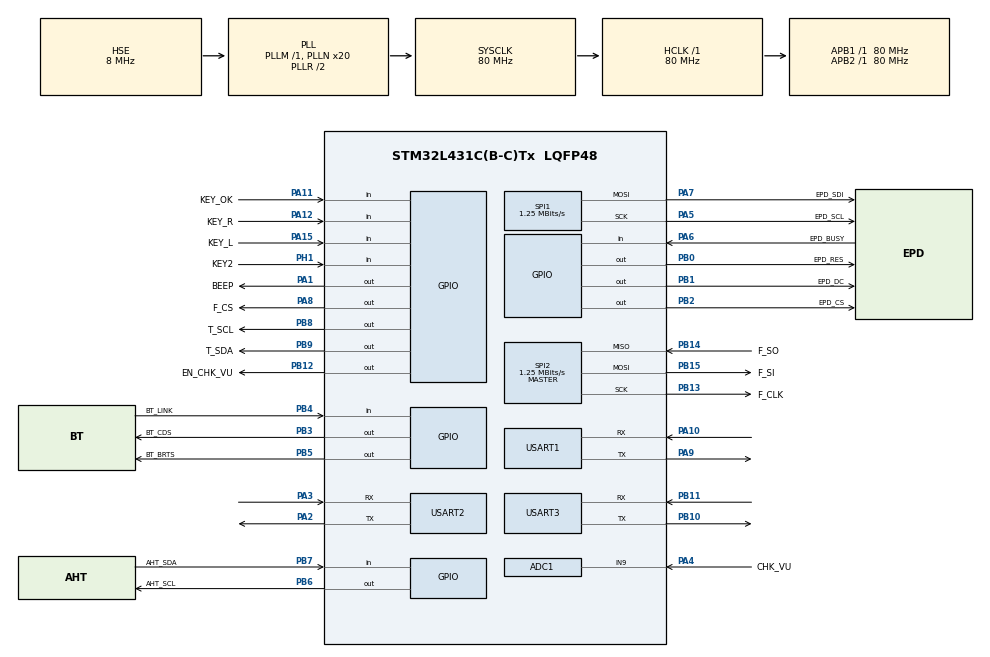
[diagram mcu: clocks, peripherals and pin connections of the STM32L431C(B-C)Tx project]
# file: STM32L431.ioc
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ADC1.Channel-1\#ChannelRegularConversion=ADC_CHANNEL_9
ADC1.NbrOfConversionFlag=1
ADC1.OffsetNumber-1\#ChannelRegularConversion=ADC_OFFSET_NONE
ADC1.Rank-1\#ChannelRegularConversion=1
ADC1.SamplingTime-1\#ChannelRegularConversion=ADC_SAMPLETIME_12CYCLES_5
ADC1.master=1
Mcu.Family=STM32L4
Mcu.Name=STM32L431C(B-C)Tx
Mcu.Package=LQFP48
NVIC.PriorityGroup=NVIC_PRIORITYGROUP_4
NVIC.USART1_IRQn=true\:3\:0\:true\:false\:true\:true\:true\:true
NVIC.USART2_IRQn=true\:4\:0\:true\:false\:true\:true\:true\:true
NVIC.USART3_IRQn=true\:5\:0\:true\:false\:true\:true\:true\:true
PA0.GPIO_Label=KEY1_WKUP
PA0.Mode=SYS_WakeUp0
PA0.Signal=SYS_WKUP1
PA1.GPIO_Label=BEEP
PA1.GPIO_ModeDefaultOutputPP=GPIO_MODE_OUTPUT_PP
PA1.GPIO_PuPd=GPIO_PULLUP
PA1.GPIO_Speed=GPIO_SPEED_FREQ_HIGH
PA1.PinState=GPIO_PIN_RESET
PA1.Signal=GPIO_Output
PA10.Mode=Asynchronous
PA10.Signal=USART1_RX
PA11.GPIO_Label=KEY_OK
PA11.GPIO_PuPd=GPIO_PULLUP
PA11.Signal=GPIO_Input
PA12.GPIO_Label=KEY_R
PA12.GPIO_PuPd=GPIO_PULLUP
PA12.Signal=GPIO_Input
PA13\ (JTMS-SWDIO).Mode=Serial_Wire
PA13\ (JTMS-SWDIO).Signal=SYS_JTMS-SWDIO
PA14\ (JTCK-SWCLK).Mode=Serial_Wire
PA14\ (JTCK-SWCLK).Signal=SYS_JTCK-SWCLK
PA15\ (JTDI).GPIO_Label=KEY_L
PA15\ (JTDI).GPIO_PuPd=GPIO_PULLUP
PA15\ (JTDI).Signal=GPIO_Input
PA2.Mode=Asynchronous
PA2.Signal=USART2_TX
PA3.Mode=Asynchronous
PA3.Signal=USART2_RX
PA4.GPIO_Label=CHK_VU
PA4.Signal=ADCx_IN9
PA5.GPIO_Label=EPD_SCL
PA5.Mode=TX_Only_Simplex_Unidirect_Master
PA5.Signal=SPI1_SCK
PA6.GPIO_Label=EPD_BUSY
PA6.GPIO_PuPd=GPIO_PULLDOWN
PA6.Signal=GPIO_Input
PA7.GPIO_Label=EPD_SDI
PA7.Mode=TX_Only_Simplex_Unidirect_Master
PA7.Signal=SPI1_MOSI
PA8.GPIO_Label=F_CS
PA8.GPIO_Speed=GPIO_SPEED_FREQ_HIGH
PA8.Signal=GPIO_Output
PA9.Mode=Asynchronous
PA9.Signal=USART1_TX
PB0.GPIO_Label=EPD_RES
PB0.GPIO_Speed=GPIO_SPEED_FREQ_HIGH
PB0.PinState=GPIO_PIN_RESET
PB0.Signal=GPIO_Output
PB1.GPIO_Label=EPD_DC
PB1.GPIO_Speed=GPIO_SPEED_FREQ_HIGH
PB1.Signal=GPIO_Output
PB10.Mode=Asynchronous
PB10.Signal=USART3_TX
PB11.Mode=Asynchronous
PB11.Signal=USART3_RX
PB12.GPIO_Label=EN_CHK_VU
PB12.GPIO_Speed=GPIO_SPEED_FREQ_HIGH
PB12.Signal=GPIO_Output
PB13.GPIO_Label=F_CLK
PB13.Mode=Full_Duplex_Master
PB13.Signal=SPI2_SCK
PB14.GPIO_Label=F_SO
PB14.Mode=Full_Duplex_Master
PB14.Signal=SPI2_MISO
PB15.GPIO_Label=F_SI
PB15.Mode=Full_Duplex_Master
PB15.Signal=SPI2_MOSI
PB2.GPIO_Label=EPD_CS
PB2.GPIO_Speed=GPIO_SPEED_FREQ_HIGH
PB2.Signal=GPIO_Output
PB3\ (JTDO-TRACESWO).GPIO_Label=BT_CDS
PB3\ (JTDO-TRACESWO).GPIO_ModeDefaultOutputPP=GPIO_MODE_OUTPUT_PP
PB3\ (JTDO-TRACESWO).GPIO_PuPd=GPIO_NOPULL
PB3\ (JTDO-TRACESWO).GPIO_Speed=GPIO_SPEED_FREQ_LOW
PB3\ (JTDO-TRACESWO).PinState=GPIO_PIN_SET
PB3\ (JTDO-TRACESWO).Signal=GPIO_Output
PB4\ (NJTRST).GPIO_Label=BT_LINK
PB4\ (NJTRST).Signal=GPIO_Input
PB5.GPIO_Label=BT_BRTS
PB5.GPIO_PuPd=GPIO_NOPULL
PB5.GPIO_Speed=GPIO_SPEED_FREQ_LOW
PB5.Signal=GPIO_Output
PB6.GPIO_Label=AHT_SCL
PB6.GPIO_Speed=GPIO_SPEED_FREQ_HIGH
PB6.Signal=GPIO_Output
PB7.GPIO_Label=AHT_SDA
PB7.Signal=GPIO_Input
PB8.GPIO_Label=T_SCL
PB8.GPIO_ModeDefaultOutputPP=GPIO_MODE_OUTPUT_OD
PB8.GPIO_PuPd=GPIO_PULLUP
PB8.GPIO_Speed=GPIO_SPEED_FREQ_HIGH
PB8.Signal=GPIO_Output
PB9.GPIO_Label=T_SDA
PB9.GPIO_ModeDefaultOutputPP=GPIO_MODE_OUTPUT_OD
PB9.GPIO_PuPd=GPIO_PULLUP
PB9.GPIO_Speed=GPIO_SPEED_FREQ_HIGH
PB9.Signal=GPIO_Output
PC13.GPIO_Label=T_SQW
PC13.Mode=SYS_WakeUp1
PC13.Signal=SYS_WKUP2
PC14-OSC32_IN\ (PC14).Mode=LSE-External-Oscillator
PC14-OSC32_IN\ (PC14).Signal=RCC_OSC32_IN
PC15-OSC32_OUT\ (PC15).Mode=LSE-External-Oscillator
PC15-OSC32_OUT\ (PC15).Signal=RCC_OSC32_OUT
PH0-OSC_IN\ (PH0).Mode=HSE-External-Clock-Source
PH0-OSC_IN\ (PH0).Signal=RCC_OSC_IN
PH1-OSC_OUT\ (PH1).GPIO_Label=KEY2
PH1-OSC_OUT\ (PH1).Signal=GPIO_Input
ProjectManager.HeapSize=0x400
ProjectManager.StackSize=0x800
ProjectManager.TargetToolchain=MDK-ARM V5.32
RCC.ADCFreq_Value=80000000
RCC.AHBFreq_Value=80000000
RCC.APB1Freq_Value=80000000
RCC.APB1TimFreq_Value=80000000
RCC.APB2Freq_Value=80000000
RCC.APB2TimFreq_Value=80000000
RCC.CortexFreq_Value=80000000
RCC.HCLKFreq_Value=80000000
RCC.HSE_VALUE=8000000
RCC.HSI48_VALUE=48000000
RCC.HSI_VALUE=16000000
RCC.MSI_VALUE=4000000
RCC.PLLN=20
RCC.PLLSAI1N=20
RCC.PLLSourceVirtual=RCC_PLLSOURCE_HSE
RCC.RTCClockSelection=RCC_RTCCLKSOURCE_LSE
RCC.SYSCLKFreq_VALUE=80000000
RCC.SYSCLKSource=RCC_SYSCLKSOURCE_PLLCLK
RCC.VCOOutputFreq_Value=160000000
RTC.Date=15
RTC.Format=RTC_FORMAT_BIN
RTC.Hours=17
RTC.Minutes=45
RTC.Month=RTC_MONTH_FEBRUARY
RTC.Seconds=23
RTC.WeekDay=RTC_WEEKDAY_SATURDAY
RTC.Year=25
SH.ADCx_IN9.0=ADC1_IN9,IN9-Single-Ended
SPI1.BaudRatePrescaler=SPI_BAUDRATEPRESCALER_64
SPI1.CalculateBaudRate=1.25 MBits/s
SPI1.DataSize=SPI_DATASIZE_8BIT
SPI1.Direction=SPI_DIRECTION_2LINES
SPI1.Mode=SPI_MODE_MASTER
SPI1.NSSPMode=SPI_NSS_PULSE_ENABLE
SPI1.VirtualType=VM_MASTER
SPI2.BaudRatePrescaler=SPI_BAUDRATEPRESCALER_64
SPI2.CLKPhase=SPI_PHASE_1EDGE
SPI2.CalculateBaudRate=1.25 MBits/s
SPI2.DataSize=SPI_DATASIZE_8BIT
SPI2.Direction=SPI_DIRECTION_2LINES
SPI2.Mode=SPI_MODE_MASTER
SPI2.VirtualType=VM_MASTER
USART1.VirtualMode-Asynchronous=VM_ASYNC
USART2.VirtualMode-Asynchronous=VM_ASYNC
USART3.VirtualMode-Asynchronous=VM_ASYNC
VP_RTC_VS_RTC_Activate.Mode=RTC_Enabled
VP_RTC_VS_RTC_Calendar.Mode=RTC_Calendar
board=custom

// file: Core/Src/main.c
/* USER CODE BEGIN Header */
/**
  ******************************************************************************
  * @file           : main.c
  * @brief          : Main program body
  ******************************************************************************
  * @attention
  *
  * Copyright (c) 2025 STMicroelectronics.
  * All rights reserved.
  *
  * This software is licensed under terms that can be found in the LICENSE file
  * in the root directory of this software component.
  * If no LICENSE file comes with this software, it is provided AS-IS.
  *
  ******************************************************************************
  */
/* USER CODE END Header */
#include "main.h"
#include "adc.h"
#include "rtc.h"
#include "spi.h"
#include "usart.h"
#include "gpio.h"

/* USER CODE BEGIN Includes */

#include "aht20.h"
#include "ds1307.h"
#include "w25qxx.h"
#include "DEV_Config.h"
#include "Command.h"
#include "GUI_Paint.h"
/* USER CODE END Includes */

/* USER CODE BEGIN PV */

void Get_RTC_Time(void) {
    RTC_TimeTypeDef sTime = {0};
    RTC_DateTypeDef sDate = {0};

    // 获取时间和日期
    HAL_RTC_GetTime(&hrtc, &sTime, RTC_FORMAT_BIN);
    HAL_RTC_GetDate(&hrtc, &sDate, RTC_FORMAT_BIN);

    // 打印时间和日期
    printf("Time: %02d:%02d:%02d\n", sTime.Hours, sTime.Minutes, sTime.Seconds);
    printf("Date: %02d-%02d-%02d\n", sDate.Date, sDate.Month, sDate.Year);
}

/* USER CODE END PV */

void SystemClock_Config(void);

int main(void)
{

  /* MCU Configuration--------------------------------------------------------*/

  /* Reset of all peripherals, Initializes the Flash interface and the Systick. */
  HAL_Init();

  /* Configure the system clock */
  SystemClock_Config();

  /* Initialize all configured peripherals */
  MX_GPIO_Init();
  MX_ADC1_Init();
  MX_SPI1_Init();
  MX_SPI2_Init();
  MX_USART1_UART_Init();
  MX_USART2_UART_Init();
  MX_USART3_UART_Init();
  MX_RTC_Init();
  /* USER CODE BEGIN 2 */
	AHT20_Init();
	W25QXX_Init();
//	DEV_Module_Init();
//	EPD_4IN2_V2_Init();
//	EPD_4IN2_V2_Clear();
//	HAL_Delay(1000);
//		uint8_t *BlackImage;
//		BlackImage = mymalloc(SRAMIN, ((EPD_4IN2_V2_WIDTH % 8 == 0) ? (EPD_4IN2_V2_WIDTH / 8) : (EPD_4IN2_V2_WIDTH / 8 + 1)) * EPD_4IN2_V2_HEIGHT);
//		if (BlackImage == NULL)
//		{
//				printf("Failed to apply for black memory...\r\n");
//		}
//
//		Paint_NewImage(BlackImage, EPD_4IN2_V2_WIDTH, EPD_4IN2_V2_HEIGHT, 0, EPD_WHITE);
//		Paint_SelectImage(BlackImage);
//		Paint_Clear(EPD_WHITE);
//		EPD_4IN2_V2_Display(BlackImage);
//		myfree(SRAMIN,BlackImage);
	HAL_GPIO_WritePin(BT_CDS_GPIO_Port,BT_CDS_Pin,GPIO_PIN_SET);
	HAL_GPIO_WritePin(BT_BRTS_GPIO_Port,BT_BRTS_Pin,GPIO_PIN_RESET);
	HAL_GPIO_WritePin(EN_CHK_VU_GPIO_Port,EN_CHK_VU_Pin,GPIO_PIN_SET);
//	HAL_GPIO_WritePin(BEEP_GPIO_Port,BEEP_Pin,GPIO_PIN_SET);

  /* USER CODE END 2 */

  /* Infinite loop */
  /* USER CODE BEGIN WHILE */
	AHT20_Data aht20_data;
	uint16_t ADC_Value; //AD转换值
	float Real_value; //实际电压值
	uint16_t cont = 0;
//	W25QXX_Write(char1,0x0000,sizeof(char1));
  while (1)
  {
		GPIO_PinState leftState = HAL_GPIO_ReadPin(KEY_L_GPIO_Port, KEY_L_Pin);
    GPIO_PinState rightState = HAL_GPIO_ReadPin(KEY_R_GPIO_Port, KEY_R_Pin);
    GPIO_PinState middleState = HAL_GPIO_ReadPin(KEY_OK_GPIO_Port, KEY_OK_Pin);
    if (leftState == GPIO_PIN_RESET)
		{
			printf("KEY_L");
    }
    // 检测右键
    if (rightState == GPIO_PIN_RESET)
		{
			printf("KEY_R");
		}

    // 检测中键
    if (middleState == GPIO_PIN_RESET)
		{
			printf("KEY_OK");
    }

    /* USER CODE END WHILE */

  }
}

void SystemClock_Config(void)
{
  RCC_OscInitTypeDef RCC_OscInitStruct = {0};
  RCC_ClkInitTypeDef RCC_ClkInitStruct = {0};

  /** Configure the main internal regulator output voltage
  */
  if (HAL_PWREx_ControlVoltageScaling(PWR_REGULATOR_VOLTAGE_SCALE1) != HAL_OK)
  {
    Error_Handler();
  }

  /** Configure LSE Drive Capability
  */
  HAL_PWR_EnableBkUpAccess();
  __HAL_RCC_LSEDRIVE_CONFIG(RCC_LSEDRIVE_LOW);

  /** Initializes the RCC Oscillators according to the specified parameters
  * in the RCC_OscInitTypeDef structure.
  */
  RCC_OscInitStruct.OscillatorType = RCC_OSCILLATORTYPE_HSE|RCC_OSCILLATORTYPE_LSE;
  RCC_OscInitStruct.HSEState = RCC_HSE_BYPASS;
  RCC_OscInitStruct.LSEState = RCC_LSE_ON;
  RCC_OscInitStruct.PLL.PLLState = RCC_PLL_ON;
  RCC_OscInitStruct.PLL.PLLSource = RCC_PLLSOURCE_HSE;
  RCC_OscInitStruct.PLL.PLLM = 1;
  RCC_OscInitStruct.PLL.PLLN = 20;
  RCC_OscInitStruct.PLL.PLLP = RCC_PLLP_DIV7;
  RCC_OscInitStruct.PLL.PLLQ = RCC_PLLQ_DIV2;
  RCC_OscInitStruct.PLL.PLLR = RCC_PLLR_DIV2;
  if (HAL_RCC_OscConfig(&RCC_OscInitStruct) != HAL_OK)
  {
    Error_Handler();
  }

  /** Initializes the CPU, AHB and APB buses clocks
  */
  RCC_ClkInitStruct.ClockType = RCC_CLOCKTYPE_HCLK|RCC_CLOCKTYPE_SYSCLK
                              |RCC_CLOCKTYPE_PCLK1|RCC_CLOCKTYPE_PCLK2;
  RCC_ClkInitStruct.SYSCLKSource = RCC_SYSCLKSOURCE_PLLCLK;
  RCC_ClkInitStruct.AHBCLKDivider = RCC_SYSCLK_DIV1;
  RCC_ClkInitStruct.APB1CLKDivider = RCC_HCLK_DIV1;
  RCC_ClkInitStruct.APB2CLKDivider = RCC_HCLK_DIV1;

  if (HAL_RCC_ClockConfig(&RCC_ClkInitStruct, FLASH_LATENCY_4) != HAL_OK)
  {
    Error_Handler();
  }
}

void Error_Handler(void)
{
  __disable_irq();
  while (1)
  {
  }
}
